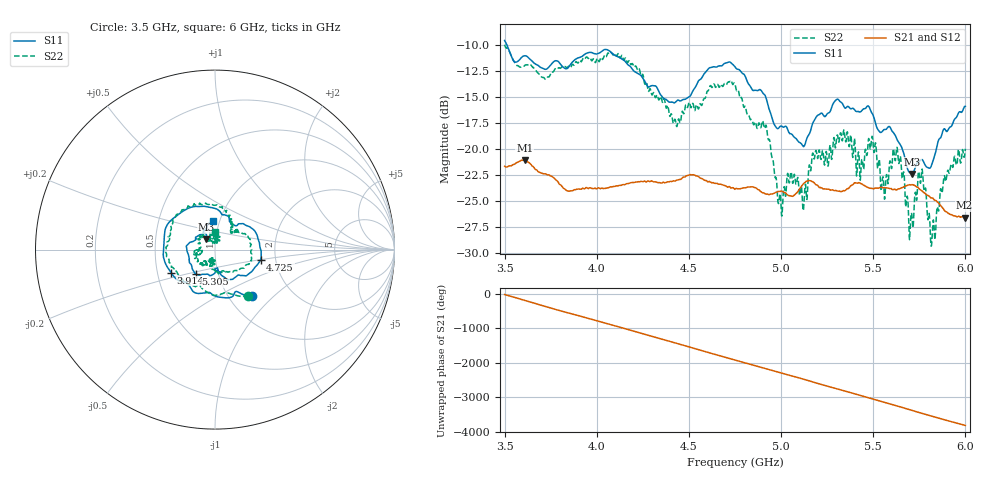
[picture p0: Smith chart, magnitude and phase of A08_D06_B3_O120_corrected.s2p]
! Created with skrf 1.9.0 (http://scikit-rf.org).
# Hz S RI R 50.0
!freq ReS11 ImS11 ReS21 ImS21 ReS12 ImS12 ReS22 ImS22
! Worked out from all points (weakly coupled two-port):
!   1601 points, 3.5 GHz to 6 GHz, reference 50 ohm
!   highest |S21| = -21.06 dB at 3.609 GHz (marker M1); lowest = -26.6 dB at 5.995 GHz (marker M2)
!   lowest |S11| = -22.4 dB at 5.713 GHz (marker M3), VSWR 1.16, Z = 45 + j5.26 ohm
!   |S11| at or under -10 dB: 3.512 GHz to end of sweep
!   |S22| runs from -29.3 to -10.0 dB; largest |S21 - S12| = 0.00096
!   S11 on the Smith chart (normalised r, x): 3.5 GHz: 1.27, -0.74; 3.914 GHz: 0.59, -0.16; 4.725 GHz: 1.67, -0.20; 5.305 GHz: 0.78, -0.22; 6 GHz: 0.93, +0.31
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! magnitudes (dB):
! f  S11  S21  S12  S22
! 3.5 GHz  -9.6  -21.6  -21.6  -10.0
! 3.609 GHz  -11.1  -21.1  -21.1  -12.0
! 3.914 GHz  -11.2  -23.9  -23.8  -11.6
! 3.917 GHz  -11.2  -23.8  -23.8  -11.6
! 4.334 GHz  -14.4  -23.2  -23.2  -15.2
! 4.442 GHz  -15.3  -23.0  -22.9  -17.2
! 4.725 GHz  -11.7  -23.7  -23.6  -13.5
! 4.75 GHz  -12.1  -23.9  -23.8  -13.8
! 4.912 GHz  -14.8  -24.3  -24.2  -18.0
! 4.995 GHz  -17.8  -24.1  -24.0  -24.3
! 5.045 GHz  -18.5  -24.5  -24.4  -23.2
! 5.13 GHz  -19.6  -23.2  -23.2  -23.6
! 5.167 GHz  -17.8  -23.1  -23.1  -20.9
! 5.305 GHz  -15.2  -24.0  -24.0  -18.7
! 5.584 GHz  -17.8  -23.8  -23.7  -22.5
! 5.638 GHz  -19.3  -23.8  -23.8  -21.3
! 5.713 GHz  -22.4  -23.4  -23.3  -27.0
! 5.756 GHz  -21.1  -23.9  -23.8  -23.3
! 5.823 GHz  -21.2  -24.7  -24.7  -27.2
! 5.892 GHz  -18.2  -26.0  -25.9  -23.1
! 5.995 GHz  -15.9  -26.6  -26.5  -20.7
! 6 GHz  -15.9  -26.6  -26.5  -20.0
